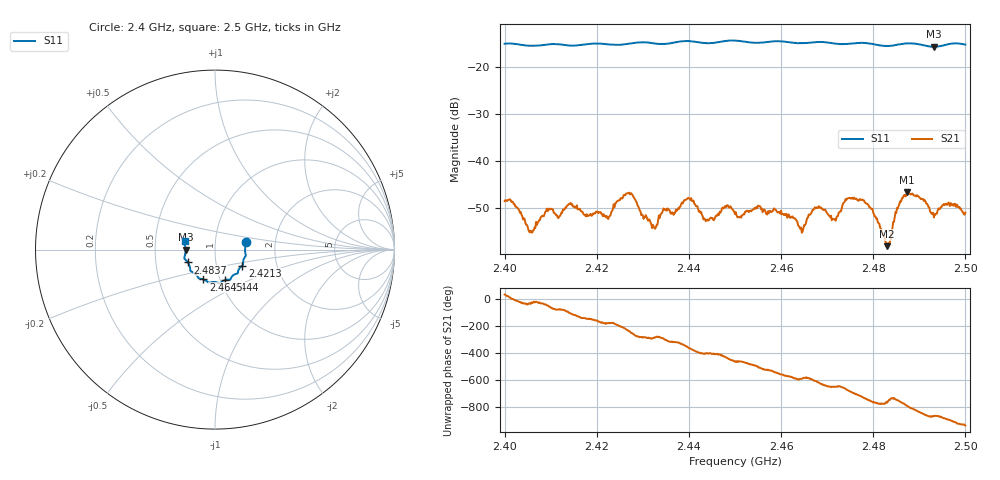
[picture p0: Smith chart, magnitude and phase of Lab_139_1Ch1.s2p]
# Hz S RI R 50
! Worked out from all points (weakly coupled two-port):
!   601 points, 2.4 GHz to 2.5 GHz, reference 50 ohm
!   highest |S21| = -46.75 dB at 2.4873 GHz (marker M1); lowest = -58.2 dB at 2.483 GHz (marker M2)
!   lowest |S11| = -15.7 dB at 2.4932 GHz (marker M3), VSWR 1.39, Z = 35.9 - j0.0453 ohm
!   |S11| at or under -10 dB: start of sweep to end of sweep
!   S12 and S22 are empty: the file has one direction only
!   S11 on the Smith chart (normalised r, x): 2.4 GHz: 1.41, +0.12; 2.4213 GHz: 1.33, -0.25; 2.444 GHz: 1.06, -0.37; 2.4645 GHz: 0.83, -0.29; 2.4837 GHz: 0.73, -0.11; 2.5 GHz: 0.71, +0.07
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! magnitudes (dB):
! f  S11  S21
! 2.4 GHz  -15.1  -48.6
! 2.4057 GHz  -15.5  -54.9
! 2.4097 GHz  -15.2  -50.2
! 2.4167 GHz  -15.3  -50.8
! 2.4213 GHz  -15.1  -51.8
! 2.427 GHz  -15.1  -46.8
! 2.4333 GHz  -15.1  -52.5
! 2.44 GHz  -14.5  -48.0
! 2.444 GHz  -15.0  -52.5
! 2.45 GHz  -14.4  -51.3
! 2.4588 GHz  -14.5  -50.4
! 2.4645 GHz  -15.0  -55.3
! 2.4667 GHz  -14.8  -50.9
! 2.4715 GHz  -15.0  -52.5
! 2.4775 GHz  -14.9  -48.4
! 2.483 GHz  -15.6  -58.2
! 2.4833 GHz  -15.6  -57.5
! 2.4837 GHz  -15.5  -57.1
! 2.4853 GHz  -15.3  -50.2
! 2.4873 GHz  -15.0  -46.7
! 2.4932 GHz  -15.7  -52.1
! 2.5 GHz  -15.3  -51.0
